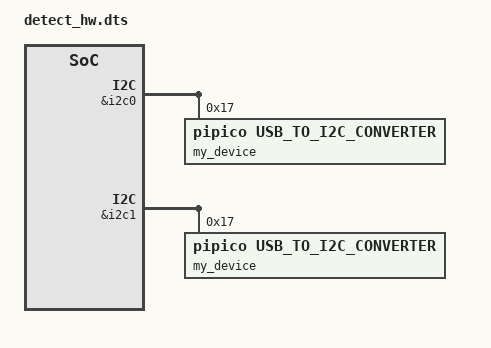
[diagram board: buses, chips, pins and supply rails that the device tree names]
/dts-v1/;
/plugin/;

/ {
    fragment@0 {
        target-path = "&i2c0";

        __overlay__ {
            #address-cells = <1>;
            #size-cells = <0>;

            my_device {
                compatible = "pipico,usb_to_i2c_converter";
                status = "okay";
                reg = <0x17>;
            };
        };
    };

    fragment@1 {
        target-path = "&i2c1";

        __overlay__ {
            #address-cells = <1>;
            #size-cells = <0>;

            my_device {
                compatible = "pipico,usb_to_i2c_converter";
                status = "okay";
                reg = <0x17>;
            };
        };
    };

};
